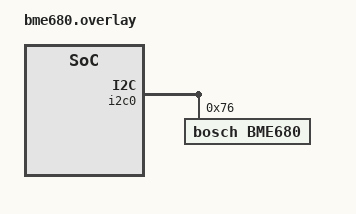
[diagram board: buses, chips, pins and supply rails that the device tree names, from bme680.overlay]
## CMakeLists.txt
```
#
# Copyright (c) 2024, Jamie M.
#
# All right reserved. This code is NOT apache or FOSS/copyleft licensed.

cmake_minimum_required(VERSION 3.20.0)

find_package(Zephyr REQUIRED HINTS $ENV{ZEPHYR_BASE})
project(lora-hacks)

target_sources(app PRIVATE src/sensor.c src/settings.c src/lora.c src/leds.c src/main.c src/peripherals.c src/hfclk.c src/nrf51_amli.c src/error_messages.c)
target_sources_ifdef(CONFIG_SHELL app PRIVATE src/shell.c)
target_sources_ifdef(CONFIG_BT app PRIVATE src/bluetooth.c)
target_sources_ifdef(CONFIG_ADC app PRIVATE src/adc.c)
target_sources_ifdef(CONFIG_APP_IR_LED app PRIVATE src/ir_led.c)
target_sources_ifdef(CONFIG_APP_GARAGE_DOOR app PRIVATE src/garage.c)
target_sources_ifdef(CONFIG_APP_WATCHDOG app PRIVATE src/watchdog.c)
target_sources_ifdef(CONFIG_MCUMGR_TRANSPORT_LORAWAN app PRIVATE src/smp_lorawan.c)

set(ZEPHYR_CURRENT_LIBRARY loramac-node)

#zephyr_library_sources(src/soft-se.c)

zephyr_library_include_directories(
  ${ZEPHYR_LORAMAC_NODE_MODULE_DIR}/src/peripherals/soft-se
  ${ZEPHYR_TINYCRYPT_MODULE_DIR}/lib/include
)

zephyr_library_compile_definitions(
  USE_LRWAN_1_0_X_CRYPTO
)

set_source_files_properties(
#  ${ZEPHYR_LORAMAC_NODE_MODULE_DIR}/src/peripherals/soft-se/aes.c
#  ${ZEPHYR_LORAMAC_NODE_MODULE_DIR}/src/peripherals/soft-se/cmac.c
#  ${ZEPHYR_LORAMAC_NODE_MODULE_DIR}/src/peripherals/soft-se/soft-se.c
  ${ZEPHYR_LORAMAC_NODE_MODULE_DIR}/src/mac/LoRaMacClassB.c
  DIRECTORY ${ZEPHYR_BASE}/subsys/lorawan/
  PROPERTIES HEADER_FILE_ONLY ON
)

if(CONFIG_DT_HAS_SILABS_SI7006_ENABLED)
  zephyr_include_directories(${ZEPHYR_BASE}/drivers/sensor/silabs/si7006)
endif()
```

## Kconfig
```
#
# Copyright (c) 2024, Jamie M.
#
# All right reserved. This code is NOT apache or FOSS/copyleft licensed.
#

menu "Application"

config APP_DEFAULT_SENSOR_READING_TIME
	int "Default time (in seconds) between samples"
	default 150
	range 30 7200
	help
	  Can be changed at run-time via a LoRa command.

config APP_LORA_CONFIRMED_PACKET_ALWAYS
	bool "Always use confirmed packets"
	help
	  If set, will always use confirmed packets for application LoRa messages.

config APP_LORA_CONFIRMED_PACKET_AFTER
	int "Number of unconfirmed packets before confirmed packet"
	default 20
	range 0 100
	depends on !APP_LORA_CONFIRMED_PACKET_ALWAYS
	help
	  Number of unconfirmed uplink packets that are sent before a confirmed packet is sent.
	  Set to 0 to disable

config APP_LORA_RECONNECT_FAILED_PACKETS
	int "Number of packet send failures before re-connection"
	default 5
	range 1 50
	help
	  Number of messages send that fail before reconnecting to the LoRa server.

config APP_LORA_USE_SPECIFIC_DATARATE
	bool "Use specific datarate"
	default y
	help
	  If enabled, will use a specific datarate at startup

choice APP_LORA_DATARATE
	prompt "Datarata"
	depends on APP_LORA_USE_SPECIFIC_DATARATE
	default APP_LORA_DATARATE_5

config APP_LORA_DATARATE_0
	bool "0"
	help
	  Use datarate 0 (SF12, 125KHz, 250bps, 51 byte application payload)

config APP_LORA_DATARATE_1
	bool "1"
	help
	  Use datarate 1 (SF11, 125KHz, 440bps, 51 byte application payload)

config APP_LORA_DATARATE_2
	bool "2"
	help
	  Use datarate 2 (SF10, 125KHz, 960bps, 51 byte application payload)

config APP_LORA_DATARATE_3
	bool "3"
	help
	  Use datarate 3 (SF9, 125KHz, 1760bps, 115 byte application payload)

config APP_LORA_DATARATE_4
	bool "4"
	help
	  Use datarate 4 (SF8, 125KHz, 3125bps, 222 byte application payload)

config APP_LORA_DATARATE_5
	bool "5"
	help
	  Use datarate 5 (SF7, 125KHz, 5470bps, 222 byte application payload)

endchoice # CLOCK_CONTROL_LPC11U6X_PLL_SRC

config APP_LORA_USE_ADR
	bool "Use ADR"
	default y
	help
	  If enabled, will use adaptive data rate

config APP_LORA_ALLOW_DOWNLINKS
	bool "Allow downlinks"
	default y
	help
	  If enabled, will allow application to receive and handle downlinks

config APP_IR_LED
	bool "Infrared LED support"
	depends on "$(dt_alias_enabled,ir-led)"
	default y
	help
	  If enabled, will include support for Infrared LED command output

config APP_EXTERNAL_DCDC
	bool "External DCDC"
	help
	  If enabled, will sample AIN3 for the voltage with 2 BAS16 diodes dropping the voltage
	  instead of the voltage in.

config APP_POWER_DOWN_EXTERNAL_SENSOR
	bool "Power down external sensor when not in use"
	depends on REGULATOR_FIXED
	depends on "$(dt_nodelabel_enabled,ext_power)"
	help
	  If enabled, will power down the external sensor port when it is not in use, but will lose
	  the configuration of the sensor if it is configured by the driver at start-up.

config APP_GARAGE_DOOR
	bool "Garage door"
	help
	  If enabled, will allow control of garage door (or simple IO output).

config APP_WATCHDOG
	bool "Watchdog"
	select WATCHDOG
	help
	  If enabled, will setup and feed watchdog which will reboot device if the device stops
	  responding.

config APP_LEDS
	bool "LEDs"
	default y
	help
	  If enabled, will setup and enable usage of the LEDs.

if BT

choice APP_BT_MODE
	prompt "Bluetooth operating mode"
	default APP_BT_MODE_ADVERTISE_ON_DEMAND

config APP_BT_MODE_ADVERTISE_ON_DEMAND
	bool "Advertise on demand"
	help
	  If enabled, will advertise only when prompted by a button press or remote LoRa message.

config APP_BT_MODE_ALWAYS_ADVERTISE
	bool "Always advertise"
	help
	  If enabled, will always advertise.

endchoice

config APP_BT_ADVERTISE_ON_START
	bool "Advertise on start-up"
	depends on APP_BT_MODE_ADVERTISE_ON_DEMAND
	help
	  If enabled, will advertise at device start-up or reset.

endif

config APP_TYPE
	hex
	default 0x34 if DT_HAS_AOSONG_DHT11_ENABLED && APP_IR_LED && ADC
	default 0x32 if DT_HAS_BOSCH_BME680_ENABLED && APP_IR_LED && ADC
	default 0x31 if DT_HAS_SILABS_SI7006_ENABLED && APP_IR_LED && ADC
	default 0x24 if DT_HAS_AOSONG_DHT11_ENABLED && ADC
	default 0x22 if DT_HAS_BOSCH_BME680_ENABLED && ADC
	default 0x21 if DT_HAS_SILABS_SI7006_ENABLED && ADC
	default 0x14 if DT_HAS_AOSONG_DHT11_ENABLED && APP_IR_LED
	default 0x12 if DT_HAS_BOSCH_BME680_ENABLED && APP_IR_LED
	default 0x11 if DT_HAS_SILABS_SI7006_ENABLED && APP_IR_LED
	default 0x04 if DT_HAS_AOSONG_DHT11_ENABLED
	default 0x02 if DT_HAS_BOSCH_BME680_ENABLED
	default 0x01 if DT_HAS_SILABS_SI7006_ENABLED
	default 0x00
	range 0x00 0xffff
	help
	  bit 0: si7021
	  bit 1: bme680
	  bit 2: dht11
	  bit 3: reserved
	  bit 4: IR LED
	  bit 5: ADC
	  bit 6: reserved
	  bit 7: reserved
	  bit 8: reserved
	  bit 9: reserved
	  bit 10: reserved
	  bit 11: reserved
	  bit 12: reserved
	  bit 13: reserved
	  bit 14: reserved
	  bit 15: reserved

module = APP
module-str = Application
source "subsys/logging/Kconfig.template.log_config"

module = APP_LEDS
module-str = LEDs
source "subsys/logging/Kconfig.template.log_config"

module = APP_LORA
module-str = LoRa
source "subsys/logging/Kconfig.template.log_config"

module = APP_SENSOR
module-str = Sensor
source "subsys/logging/Kconfig.template.log_config"

module = APP_HFCLK
module-str = HFCLK
source "subsys/logging/Kconfig.template.log_config"

module = APP_SETTINGS
module-str = Settings
source "subsys/logging/Kconfig.template.log_config"

if ADC

module = APP_ADC
module-str = Battery voltage measurement
source "subsys/logging/Kconfig.template.log_config"

endif # ADC

if BT

module = APP_BLUETOOTH
module-str = Bluetooth
source "subsys/logging/Kconfig.template.log_config"

endif # BT

if APP_IR_LED

module = APP_IR_LED
module-str = IR LED
source "subsys/logging/Kconfig.template.log_config"

endif # APP_INFRARED_LED

if APP_GARAGE_DOOR

module = APP_GARAGE
module-str = Garage
source "subsys/logging/Kconfig.template.log_config"

endif # APP_GARAGE_DOOR

if APP_WATCHDOG

module = APP_WATCHDOG
module-str = Watchdog
source "subsys/logging/Kconfig.template.log_config"

endif # APP_WATCHDOG

rsource "Kconfig.lorawan"

endmenu

source "Kconfig.zephyr"
```

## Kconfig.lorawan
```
#
# Copyright (c) 2024, Jamie M.
#
# All right reserved. This code is NOT apache or FOSS/copyleft licensed.
#

config MCUMGR_TRANSPORT_NETBUF_COUNT
        default 2 if MCUMGR_TRANSPORT_LORAWAN

config MCUMGR_TRANSPORT_NETBUF_SIZE
        default 222 if MCUMGR_TRANSPORT_LORAWAN

config MCUMGR_TRANSPORT_NETBUF_MIN_USER_DATA_SIZE
        default 0 if MCUMGR_TRANSPORT_LORAWAN && !MCUMGR_TRANSPORT_BT

# The Kconfig file is dedicated to the LoRaWAN transport of MCUmgr
# subsystem and provides Kconfig options to control aspects of
# the transport.
#
# Options defined in this file should be prefixed:
#  MCUMGR_TRANSPORT_LORAWAN_

menuconfig MCUMGR_TRANSPORT_LORAWAN
	bool "LoRaWAN MCUmgr SMP transport"
	help
	  Enables handling of SMP commands received over LoRaWAN.

if MCUMGR_TRANSPORT_LORAWAN

config MCUMGR_TRANSPORT_LORAWAN_PORT
	int "LoRaWAN SMP port"
	range 1 224
	default 2
	help
	  LoRaWAN download and uplink for communication. All messages received on this port will be
	  treated as SMP packets.

config MCUMGR_TRANSPORT_LORAWAN_CONFIRMED_PACKETS
	bool "Use confirmed packets for uplinks"
	default y
	help
	  Will use confirmed uplink packets for responses if enabled, otherwise will use
	  unconfirmed packets.

config MCUMGR_TRANSPORT_LORAWAN_REASSEMBLY
	bool "Reassemble LoRaWAN SMP messages"
	select MCUMGR_TRANSPORT_REASSEMBLY
	default y
	help
	  Will reassemble downlink LoRaWAN messages together to allow for messages larger than a
	  single message to be recieved, otherwise will support messages up to a single packet in
	  size.

config MCUMGR_TRANSPORT_LORAWAN_POLL_FOR_DATA
	bool "Send empty packet if partial packet received"
	depends on MCUMGR_TRANSPORT_LORAWAN_REASSEMBLY
	help
	  Will send an empty packet if a partial (fragmented) message has been recieved from the
	  server, this will allow the next packet to be recieved without waiting for next
	  transmission window.

config MCUMGR_TRANSPORT_LORAWAN_FRAGMENTED_UPLINKS
	bool "Fragment uplink messages"
	default y
	help
	  Will fragment messages into multiple uplink messages if they are too big to fit into a
	  single uplink message. If disabled then uplinks that are too large will not be sent.

module = MCUMGR_TRANSPORT_LORAWAN
module-str = LoRaWAN MCUmgr SMP transport
source "subsys/logging/Kconfig.template.log_config"

endif # MCUMGR_TRANSPORT_LORAWAN
```

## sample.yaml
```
sample:
  name: lora-hacks
common:
  sysbuild: true
  platform_allow:
    - rs1xx
  integration_platforms:
    - rs1xx
tests:
  lora-hacks.si7021:
    tags: default
  lora-hacks.si7021.bluetooth.mcumgr:
      - EXTRA_CONF_FILE="bluetooth.conf;mcumgr.conf"
  lora-hacks.si7021.bluetooth.mcumgr.thread.analyser:
      - EXTRA_CONF_FILE="bluetooth.conf;mcumgr.conf;thread_analyser.conf"
  lora-hacks.si7021.debug:
    extra_args:
      - FILE_SUFFIX="debug"
#  lora-hacks.bme680.external:
#    extra_args:
#      - EXTRA_CONF_FILE="external_sensor_power.conf"
#      - EXTRA_DTC_OVERLAY_FILE="external_sensor_power.overlay;bme680.overlay"
#  lora-hacks.bme680.external.external_dcdc:
#    extra_args:
#      - EXTRA_CONF_FILE="external_sensor_power.conf;external_dcdc.conf"
#      - EXTRA_DTC_OVERLAY_FILE="external_sensor_power.overlay;bme680.overlay"
  lora-hacks.bme680.external.external_dcdc.ir_led:
    extra_args:
      - EXTRA_CONF_FILE="external_sensor_power.conf;external_dcdc.conf"
      - EXTRA_DTC_OVERLAY_FILE="external_sensor_power.overlay;bme680.overlay;ir_led.overlay"
  lora-hacks.bme680.external.external_dcdc.ir_led.debug:
    extra_args:
      - EXTRA_CONF_FILE="external_sensor_power.conf;external_dcdc.conf"
      - EXTRA_DTC_OVERLAY_FILE="external_sensor_power.overlay;bme680.overlay;ir_led.overlay"
      - FILE_SUFFIX="debug"
  lora-hacks.bme680.external.external_dcdc.ir_led.bluetooth.mcumgr:
    extra_args:
      - EXTRA_CONF_FILE="external_sensor_power.conf;external_dcdc.conf;bluetooth.conf;mcumgr.conf"
      - EXTRA_DTC_OVERLAY_FILE="external_sensor_power.overlay;bme680.overlay;ir_led.overlay"
  lora-hacks.bme680.external.external_dcdc.ir_led.bluetooth.mcumgr.thread.analyser:
    extra_args:
      - EXTRA_CONF_FILE="external_sensor_power.conf;external_dcdc.conf;bluetooth.conf;mcumgr.conf;thread_analyser.conf"
      - EXTRA_DTC_OVERLAY_FILE="external_sensor_power.overlay;bme680.overlay;ir_led.overlay"
  lora-hacks.bme680.bluetooth.garage.mcumgr:
    extra_args:
      - EXTRA_CONF_FILE="bluetooth.conf;garage.conf;mcumgr.conf"
      - EXTRA_DTC_OVERLAY_FILE="bme680.overlay;garage.overlay"

  lora-hacks.si7021.bluetooth.fota:
    extra_args:
      - EXTRA_CONF_FILE="bluetooth.conf;mcumgr.conf;fota.conf;picolibc_module_speed.conf"
      - FILE_SUFFIX=fota
  lora-hacks.htu21d.bluetooth.fota:
    extra_args:
      - EXTRA_CONF_FILE="bluetooth.conf;mcumgr.conf;fota.conf;picolibc_module_speed.conf"
      - EXTRA_DTC_OVERLAY_FILE="htu21d.overlay"
      - FILE_SUFFIX=fota
  lora-hacks.si7021.bluetooth.external.fota:
    extra_args:
      - EXTRA_CONF_FILE="bluetooth.conf;external_dcdc.conf;mcumgr.conf;fota.conf;picolibc_module_speed.conf"
      - FILE_SUFFIX=fota
  lora-hacks.si7021.bluetooth.external.ir_led.fota.picolibc-fast:
    extra_args:
      - EXTRA_CONF_FILE="bluetooth.conf;external_dcdc.conf;ir_led.conf;mcumgr.conf;fota.conf;picolibc_module_speed.conf"
      - EXTRA_DTC_OVERLAY_FILE="ir_led.overlay"
      - FILE_SUFFIX=fota
  lora-hacks.bme680.bluetooth.external.ir_led.fota.picolibc-fast:
    extra_args:
      - EXTRA_CONF_FILE="bluetooth.conf;external_dcdc.conf;ir_led.conf;mcumgr.conf;fota.conf;picolibc_module_speed.conf"
      - EXTRA_DTC_OVERLAY_FILE="bme680.overlay;ir_led.overlay"
      - FILE_SUFFIX=fota
  lora-hacks.bme680.bluetooth.garage.fota.picolibc-fast:
    extra_args:
      - EXTRA_CONF_FILE="bluetooth.conf;garage.conf;mcumgr.conf;fota.conf;picolibc_module_speed.conf"
      - EXTRA_DTC_OVERLAY_FILE="bme680.overlay;garage.overlay"
      - FILE_SUFFIX=fota
      - mcuboot_EXTRA_CONF_FILE="\${APPLICATION_CONFIG_DIR}/garage.conf"
      - mcuboot_EXTRA_DTC_OVERLAY_FILE="\${APPLICATION_CONFIG_DIR}/garage.overlay"
```

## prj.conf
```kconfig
CONFIG_SPI=y
CONFIG_GPIO=y

CONFIG_LORA=y
CONFIG_LORAWAN=y
CONFIG_LORAMAC_REGION_EU868=y
CONFIG_LORAWAN_NVM_SETTINGS=y

CONFIG_SETTINGS=y
CONFIG_SETTINGS_NVS=y
CONFIG_SETTINGS_RUNTIME=y

CONFIG_NVS=y
CONFIG_FLASH_MAP=y
CONFIG_FLASH=y

CONFIG_NVS_LOOKUP_CACHE=y
CONFIG_NVS_LOOKUP_CACHE_SIZE=8
CONFIG_SETTINGS_NVS_NAME_CACHE=y
CONFIG_SETTINGS_NVS_NAME_CACHE_SIZE=16
#CONFIG_SETTINGS_NVS_SECTOR_SIZE_MULT=
#CONFIG_SETTINGS_NVS_SECTOR_COUNT=

CONFIG_SENSOR=y
CONFIG_CBPRINTF_FP_SUPPORT=n

CONFIG_FP16=n

CONFIG_ADC=y
CONFIG_ADC_NRFX_ADC=n

CONFIG_REBOOT=y
CONFIG_APP_WATCHDOG=y

# Release
CONFIG_BOOT_BANNER=n
CONFIG_PRINTK=n
CONFIG_EARLY_CONSOLE=n
CONFIG_ASSERT_VERBOSE=n
CONFIG_FAULT_DUMP=0
CONFIG_SPEED_OPTIMIZATIONS=y
CONFIG_SYSTEM_WORKQUEUE_STACK_SIZE=2400
CONFIG_MAIN_STACK_SIZE=1800
CONFIG_ISR_STACK_SIZE=700

CONFIG_INIT_STACKS=y
CONFIG_CONSOLE=n
CONFIG_SERIAL=n
CONFIG_SPEED_OPTIMIZATIONS=y
CONFIG_ISR_TABLES_LOCAL_DECLARATION=y
CONFIG_LTO=y

#CONFIG_TINYCRYPT=y
#CONFIG_TINYCRYPT_AES=y
#CONFIG_TINYCRYPT_AES_CMAC=y
```

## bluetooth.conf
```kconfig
CONFIG_BT=y
CONFIG_BT_SMP=y
CONFIG_BT_PERIPHERAL=y
CONFIG_BT_DEVICE_NAME="Lora-Hacks"
CONFIG_BT_SMP=n
CONFIG_BT_GATT_CACHING=n
CONFIG_BT_DEVICE_NAME_DYNAMIC=y
CONFIG_BT_DEVICE_APPEARANCE=1344
CONFIG_BT_CTLR_TX_PWR_PLUS_4=y
CONFIG_BT_CTLR_LE_ENC=n
CONFIG_BT_CTLR_MIN_USED_CHAN=n
CONFIG_BT_ASSERT_VERBOSE=n
CONFIG_BT_DEVICE_NAME_GATT_WRITABLE=n
CONFIG_BT_BUF_ACL_TX_SIZE=150
CONFIG_BT_BUF_ACL_RX_SIZE=150
CONFIG_BT_L2CAP_TX_MTU=147
CONFIG_BT_PERIPHERAL_PREF_LATENCY=2
CONFIG_MCUMGR_TRANSPORT_NETBUF_COUNT=4
CONFIG_CLOCK_CONTROL_NRF_K32SRC_250PPM=y
CONFIG_BT_CTLR_ASSERT_HANDLER=y
```

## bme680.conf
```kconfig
CONFIG_REGULATOR=y
CONFIG_REGULATOR_THREAD_SAFE_REFCNT=n
```

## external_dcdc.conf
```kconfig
CONFIG_APP_EXTERNAL_DCDC=y
```

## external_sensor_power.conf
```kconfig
CONFIG_REGULATOR=y
CONFIG_REGULATOR_THREAD_SAFE_REFCNT=n
CONFIG_REGULATOR_FIXED_INIT_PRIORITY=41
```

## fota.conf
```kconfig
CONFIG_MCUBOOT_BOOTLOADER_MODE_OVERWRITE_ONLY=y
CONFIG_IMG_MANAGER=y
CONFIG_STREAM_FLASH=y
CONFIG_IMG_ERASE_PROGRESSIVELY=y
CONFIG_MCUMGR_TRANSPORT_BT_AUTHEN=y
CONFIG_MCUMGR_TRANSPORT_BT_CONN_PARAM_CONTROL=y
CONFIG_MCUMGR_TRANSPORT_BT_CONN_PARAM_CONTROL_MIN_INT=8
CONFIG_MCUMGR_TRANSPORT_BT_CONN_PARAM_CONTROL_MAX_INT=11
CONFIG_MCUMGR_TRANSPORT_BT_CONN_PARAM_CONTROL_TIMEOUT=48
CONFIG_MCUMGR_GRP_IMG=y
CONFIG_MCUMGR_GRP_IMG_ALLOW_ERASE_PENDING=y
CONFIG_MCUMGR_GRP_IMG_FRUGAL_LIST=y
CONFIG_MCUMGR_GRP_IMG_TOO_LARGE_SYSBUILD=y
CONFIG_BT_BUF_EVT_DISCARDABLE_SIZE=203
CONFIG_BT_BUF_CMD_TX_SIZE=203
CONFIG_BT_BUF_EVT_RX_SIZE=203
CONFIG_BT_BUF_ACL_TX_SIZE=203
CONFIG_BT_BUF_ACL_RX_SIZE=203
CONFIG_BT_BUF_ACL_RX_COUNT=5
CONFIG_BT_BUF_EVT_RX_COUNT=9
CONFIG_BT_L2CAP_TX_MTU=200
CONFIG_BT_MAX_PAIRED=2
CONFIG_BT_CTLR_FAL_SIZE=2
CONFIG_BT_CTLR_RL_SIZE=2
CONFIG_IMG_BLOCK_BUF_SIZE=128
```

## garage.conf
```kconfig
CONFIG_BT_SMP=y
CONFIG_BT_FIXED_PASSKEY=y
CONFIG_BT_BONDABLE=y
CONFIG_BT_SMP_MIN_ENC_KEY_SIZE=16
CONFIG_BT_MAX_PAIRED=1
CONFIG_BT_ECC=y
CONFIG_BT_TINYCRYPT_ECC=y
CONFIG_BT_CTLR_RX_BUFFERS=2
CONFIG_BT_CTLR_LE_ENC=y
CONFIG_BT_FILTER_ACCEPT_LIST=y
CONFIG_BT_SMP_SC_ONLY=y
CONFIG_BT_CTLR_LE_PING=n
CONFIG_BT_CTLR_FAL_SIZE=2
CONFIG_BT_BONDING_REQUIRED=y
CONFIG_BT_SETTINGS=y
CONFIG_BT_SMP_ENFORCE_MITM=n
CONFIG_BT_SMP_APP_PAIRING_ACCEPT=y
CONFIG_APP_LORA_CONFIRMED_PACKET_ALWAYS=y
CONFIG_APP_BT_MODE_ALWAYS_ADVERTISE=y
CONFIG_APP_GARAGE_DOOR=y
CONFIG_APP_LEDS=n
```

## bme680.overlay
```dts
&i2c0 {
	/delete-node/ si7021@40;

	bme680: bme680@76 {
		compatible = "bosch,bme680";
		reg = <0x76>;
	};
};
```

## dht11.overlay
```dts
/ {
	dht11: dht11 {
		compatible = "aosong,dht";
		status = "okay";
		dio-gpios = <&gpio0 3 (GPIO_PULL_UP | GPIO_ACTIVE_LOW)>;
	};
};

&gpio0 {
	dht_power {
		gpio-hog;
		gpios = <23 GPIO_ACTIVE_HIGH>;
		output-high;
	};
};

&i2c0 {
	status = "disabled";
	/delete-node/ si7021@40;
};
```

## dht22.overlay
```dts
/ {
	dht22: dht22 {
		compatible = "aosong,dht";
		status = "okay";
		dio-gpios = <&gpio0 0 GPIO_ACTIVE_LOW>;
		dht22;
	};

	aliases {
		/delete-property/ led1;
		/delete-property/ led2;
		/delete-property/ led3;
		/delete-property/ sw0;
	};

};

&i2c0 {
	status = "disabled";
	/delete-node/ si7021@40;
};

&timer2 {
	status = "okay";
	prescaler = <4>;
};
```

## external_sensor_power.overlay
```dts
/ {
	ext_power: ext_power {
		compatible = "regulator-fixed";
		enable-gpios = <&gpio0 23 GPIO_ACTIVE_HIGH>;
		regulator-name = "ext_power";
		regulator-boot-on;
	};
};
```

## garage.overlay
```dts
/delete-node/ &button0;
/delete-node/ &led1;
/delete-node/ &led2;
/delete-node/ &led3;

/ {
	leds {
		compatible = "gpio-leds";
		garage: led_0 {
			gpios = <&gpio0 24 GPIO_ACTIVE_HIGH>;
			label = "Transistor input";
		};
	};

	buttons {
		compatible = "gpio-keys";
		button0: button_0 {
			label = "Push button";
			gpios = <&gpio0 22 (GPIO_PULL_DOWN | GPIO_ACTIVE_HIGH)>;
			zephyr,code = <INPUT_KEY_0>;
		};
	};

	aliases {
		/delete-property/ led1;
		/delete-property/ led2;
		/delete-property/ led3;
		garage = &garage;
	};
};

&gpio0 {
	door {
		gpio-hog;
		gpios = <24 GPIO_ACTIVE_HIGH>;
		output-low;
	};
};
```

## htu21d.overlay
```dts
&i2c0 {
	/delete-node/ si7021@40;

	htu21d: htu21d@40 {
		compatible = "sensirion,sht21";
		reg = <0x40>;
		status = "okay";
	};
};


&i2c0_default {
	group1 {
		bias-pull-up;
	};
};
```

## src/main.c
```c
/*
 * Copyright (c) 2024, Jamie M.
 *
 * All right reserved. This code is NOT apache or FOSS/copyleft licensed.
 */

#include <zephyr/kernel.h>
#include <zephyr/logging/log.h>
#include <zephyr/settings/settings.h>
#include <zephyr/sys/reboot.h>
#include <zephyr/storage/flash_map.h>
#include <zephyr/sys_clock.h>
#include "settings.h"
#include "sensor.h"
#include "lora.h"
#include "leds.h"
#include "adc.h"
#include "ir_led.h"
#include "peripherals.h"
#include "bluetooth.h"
#include "garage.h"
#include "hfclk.h"
#include "watchdog.h"
#include "error_messages.h"
#include "app_version.h"

LOG_MODULE_REGISTER(app, CONFIG_APP_LOG_LEVEL);

#define SENSOR_READING_TIME_MIN 30
#define SENSOR_READING_TIME_MAX 7200
#define SEND_ATTEMPTS 3
#define ADC_OFFSET_DEFAULT_MV 500

extern void sys_arch_reboot(int type);

enum lora_uplink_types {
	LORA_UPLINK_TYPE_STARTUP,
	LORA_UPLINK_TYPE_READINGS,
	LORA_UPLINK_TYPE_ERROR_READINGS,
	LORA_UPLINK_TYPE_ERROR_ADC,
	LORA_UPLINK_TYPE_ERROR_NO_HANDLER,
	LORA_UPLINK_TYPE_UPTIME,
	LORA_UPLINK_TYPE_IR_COMPLETE,
	LORA_UPLINK_TYPE_GARAGE_COMPLETE,
};

enum lora_downlink_types {
	LORA_DOWNLINK_TYPE_IR,
	LORA_DOWNLINK_TYPE_UNUSED,
	LORA_DOWNLINK_TYPE_GARAGE,
	LORA_DOWNLINK_TYPE_BLUETOOTH,
	LORA_DOWNLINK_TYPE_DEVICE,
};

enum device_command_op_t {
	DEVICE_COMMAND_OP_REBOOT,
	DEVICE_COMMAND_OP_CLEAR_SETTINGS,
	DEVICE_COMMAND_OP_BLINK_LED,
	DEVICE_COMMAND_OP_GET_UPTIME,
	DEVICE_COMMAND_OP_SET_SENSOR_INTEVAL,
	DEVICE_COMMAND_OP_SENSOR_RUN_HEATER,

	DEVICE_COMMAND_OP_COUNT,
};

enum send_flags_t {
	SEND_FLAG_UPTIME = 0x01,
};

static void sensor_timer_handler(struct k_timer *dummy);

static uint16_t sensor_reading_time = CONFIG_APP_DEFAULT_SENSOR_READING_TIME;
static uint8_t send_flags = 0;
static K_SEM_DEFINE(send_message_sem, 1, 2);
static K_TIMER_DEFINE(sensor_timer, sensor_timer_handler, NULL);

static void sensor_timer_handler(struct k_timer *dummy)
{
	k_sem_give(&send_message_sem);
}

void lora_message_added(void)
{
	k_sem_give(&send_message_sem);
}

int main(void)
{
	int rc;
	uint16_t application_type = CONFIG_APP_TYPE;
	int8_t temperature[2];
	int8_t humidity[2];
	uint8_t lora_data[8];
	uint8_t data_size;
	uint8_t failed_messages = 0;
	bool lora_joined = false;
	bool lora_sent_join_message = false;
	bool error = false;

#ifdef CONFIG_ADC
	uint16_t voltage;
#endif

	LOG_INF("Application version %s, built " __DATE__, APP_VERSION_EXTENDED_STRING);

	peripheral_setup();
	(void)leds_init();
	lora_keys_load();
	app_keys_load();

#ifdef CONFIG_APP_GARAGE_DOOR
	garage_init();
#endif

#ifdef CONFIG_BT
	rc = bluetooth_init();

	if (rc != 0) {
		error = true;
		LOG_ERR("Bluetooth setup failed");
	}
#endif

	rc = sensor_setup();

#ifdef CONFIG_ADC
	adc_setup();
#endif

	if (rc != 0) {
		error = true;
		LOG_ERR("Sensor setup failed: device inoperable");
	}

#ifdef CONFIG_APP_IR_LED
	rc = ir_led_setup();

	if (rc != 0) {
		error = true;
		LOG_ERR("IR LED setup failed: device inoperable");
	}
#endif

	/* LED flashing to indicate start up */
	if (error == false) {
#if defined(CONFIG_APP_LEDS)
		led_on(LED_RED);
		k_sleep(K_MSEC(300));
		led_off(LED_RED);
		led_on(LED_GREEN);
		k_sleep(K_MSEC(300));
		led_off(LED_GREEN);
		led_on(LED_BLUE);
		k_sleep(K_MSEC(300));
		led_off(LED_BLUE);
#else
		k_sleep(K_MSEC(300));
#endif
	} else {
		watchdog_fatal();
#if defined(CONFIG_APP_LEDS)
		led_on(LED_RED);
		led_on(LED_GREEN);
		k_sleep(K_MSEC(300));
		led_off(LED_RED);
		led_off(LED_GREEN);
		led_on(LED_GREEN);
		led_on(LED_BLUE);
		k_sleep(K_MSEC(300));
		led_off(LED_GREEN);
		led_off(LED_BLUE);
		led_on(LED_BLUE);
		led_on(LED_RED);
		k_sleep(K_MSEC(300));
		led_off(LED_BLUE);
		led_off(LED_RED);
#else
		k_sleep(K_MSEC(300));
#endif
	}

	while (1) {
		uint8_t i = 0;
		uint8_t l;

		k_sem_take(&send_message_sem, K_FOREVER);
		(void)hfclk_enable();

		if (lora_joined == false) {
			rc = lora_setup();

			if (rc == 0) {
				lora_joined = true;
			} else {
				goto wait;
			}
		}

		if (lora_sent_join_message == false) {
			/* Send connect message with version and application type */
			data_size = 0;
			lora_data[data_size++] = LORA_UPLINK_TYPE_STARTUP;
			lora_data[data_size++] = APP_VERSION_MAJOR;
			lora_data[data_size++] = APP_VERSION_MINOR;
			lora_data[data_size++] = APP_PATCHLEVEL;
			lora_data[data_size++] = APP_TWEAK;
			lora_data[data_size++] = ((uint8_t *)&application_type)[0];
			lora_data[data_size++] = ((uint8_t *)&application_type)[1];

			rc = lora_send_message(lora_data, data_size, true, SEND_ATTEMPTS);

			if (rc == 0) {
				LOG_INF("Connect message sent");
				lora_sent_join_message = true;
			} else {
				LOG_ERR("Connect message failed to send: %d", rc);
				++failed_messages;
				goto wait;
			}
		}

		if (send_flags & SEND_FLAG_UPTIME) {
			/* Send device uptime */
			uint32_t uptime = (uint32_t)(k_uptime_get() / MSEC_PER_SEC);

			lora_data[0] = LORA_UPLINK_TYPE_UPTIME;
			memcpy(&lora_data[1], &uptime, sizeof(uptime));

			rc = lora_send_message(lora_data, 5, false, SEND_ATTEMPTS);

			if (rc == 0) {
				LOG_INF("Message sent");
				send_flags &= ~SEND_FLAG_UPTIME;
			} else {
				LOG_ERR("Message failed to send: %d", rc);
				++failed_messages;
			}
		}

		/* Check for any error mesages to report */
		l = error_message_get_count();

		if (l > 0) {
			const struct error_message_holder_t *errors = error_message_get_array();

			error_message_lock();

			while (i < l) {
				rc = lora_send_message((errors[i].data_size == 0 ? NULL :
							errors[i].data), errors[i].data_size,
						       false, SEND_ATTEMPTS);

				if (rc == 0) {
#ifdef CONFIG_APP_WATCHDOG
					watchdog_feed();
#endif
					LOG_INF("Message sent");
				} else {
					LOG_ERR("Message failed to send: %d", rc);
					++failed_messages;
				}

				++i;
			}

			error_message_clear();
			error_message_unlock();
			(void)hfclk_disable();

			/* Ensure that there is a pending timer event or semaphore count so this
			 * runs again
			 */
			if (k_timer_remaining_get(&sensor_timer) == 0 &&
			    k_sem_count_get(&send_message_sem) == 0) {
				/* Something has been missed, restart the timer */
				goto restart_timer;
			} else {
				continue;
			}
		} else {
			data_size = 0;

			rc = sensor_fetch_readings(temperature, humidity);

			if (rc != 0) {
				lora_data[data_size++] = LORA_UPLINK_TYPE_ERROR_READINGS;
			}

#ifdef CONFIG_ADC
			if (rc == 0) {
				rc = adc_read_internal(&voltage);

				if (rc != 0) {
					lora_data[data_size++] = LORA_UPLINK_TYPE_ERROR_ADC;
				} else {
#ifdef CONFIG_APP_EXTERNAL_DCDC
					int16_t adc_offset;

					rc = settings_runtime_get("app/power_offset", (uint8_t *)&adc_offset, sizeof(adc_offset));

					if (rc != sizeof(adc_offset) || adc_offset == 0) {
						/* No offset, use default */
						adc_offset = ADC_OFFSET_DEFAULT_MV;
					}

					voltage += adc_offset;

					rc = 0;
#endif
				}
			}
#endif

			if (rc == 0) {
				lora_data[data_size++] = LORA_UPLINK_TYPE_READINGS;
				lora_data[data_size++] = temperature[0];
				lora_data[data_size++] = temperature[1];
				lora_data[data_size++] = humidity[0];
				lora_data[data_size++] = humidity[1];

#ifdef CONFIG_ADC
				lora_data[data_size++] = (voltage & 0xff00) >> 8;
				lora_data[data_size++] = voltage & 0xff;
#else
				lora_data[data_size++] = 0xff;
				lora_data[data_size++] = 0xff;
#endif
			} else {
				LOG_ERR("Failed to fetch sensor readings or ADC value");

				/* Uplink type is already set, append error code */
				lora_data[data_size++] = rc & 0xff;
			}

			rc = lora_send_message(lora_data, data_size, false, SEND_ATTEMPTS);

			if (rc == 0) {
#ifdef CONFIG_APP_WATCHDOG
				watchdog_feed();
#endif
				LOG_INF("Message sent");
			} else {
				LOG_ERR("Message failed to send: %d", rc);
				++failed_messages;
			}
wait:
			(void)hfclk_disable();

			if (failed_messages > CONFIG_APP_LORA_RECONNECT_FAILED_PACKETS) {
				/* No successful messages after a period of time, consider connection dead
				 * and reconnect
				 */
				failed_messages = 0;
				lora_joined = false;
				lora_sent_join_message = false;
				watchdog_fatal();
				sys_arch_reboot(SYS_REBOOT_COLD);
			}

restart_timer:
			k_timer_start(&sensor_timer, K_SECONDS(sensor_reading_time), K_NO_WAIT);
		}
	}
}

#ifdef CONFIG_APP_LORA_ALLOW_DOWNLINKS
static int device_command(const enum device_command_op_t op, const uint8_t *data, const uint8_t data_size)
{
	switch (op) {
		case DEVICE_COMMAND_OP_REBOOT:
		{
			sys_reboot(SYS_REBOOT_COLD);
			break;
		}
		case DEVICE_COMMAND_OP_CLEAR_SETTINGS:
		{
			const struct flash_area *fap;
			int rc = flash_area_open(FIXED_PARTITION_ID(storage_partition), &fap);

			if (rc < 0) {
				return -ENOENT;
			} else {
				rc = flash_area_flatten(fap, 0, fap->fa_size);

				if (rc < 0) {
					return -EIO;
				}

				flash_area_close(fap);
			}

			break;
		}
#if defined(CONFIG_APP_LEDS)
		case DEVICE_COMMAND_OP_BLINK_LED:
		{
			led_on(LED_RED);
			led_on(LED_GREEN);
			led_on(LED_BLUE);
			k_sleep(K_SECONDS(3));
			led_off(LED_RED);
			led_off(LED_GREEN);
			led_off(LED_BLUE);
			break;
		}
#endif
		case DEVICE_COMMAND_OP_GET_UPTIME:
		{
			send_flags |= SEND_FLAG_UPTIME;
			k_sem_give(&send_message_sem);
			break;
		}
		case DEVICE_COMMAND_OP_SET_SENSOR_INTEVAL:
		{
			const uint16_t *reading_time = (uint16_t *)data;

			if (data_size != sizeof(uint16_t)) {
				return -EINVAL;
			} else if (*reading_time < SENSOR_READING_TIME_MIN || *reading_time > SENSOR_READING_TIME_MAX) {
				return -EINVAL;
			}

			sensor_reading_time = *reading_time;
			break;
		}
#if CONFIG_DT_HAS_SILABS_SI7006_ENABLED
		case DEVICE_COMMAND_OP_SENSOR_RUN_HEATER:
		{
			sensor_run_heater();
		}
#endif
		default:
		{
			return -EINVAL;
		}
	};

	return 0;
}

void lora_message_callback(uint8_t port, const uint8_t *data, uint8_t len)
{
	uint8_t response[2];
	uint8_t response_size = 0;

	if (port == 1) {
		if (len == 0) {
			LOG_DBG("Received 0 byte download on port 1");
			return;
		}

		switch (data[0]) {
#ifdef CONFIG_APP_IR_LED
			case LORA_DOWNLINK_TYPE_IR:
			{
				(void)ir_led_send(data[1]);

				/* Send response indicating request has been actioned */
				response[response_size++] = LORA_UPLINK_TYPE_IR_COMPLETE;
				error_message_lock();
				error_message_add_error(response, response_size);
				error_message_unlock();
				break;
			}
#endif

#ifdef CONFIG_APP_GARAGE_DOOR
			case LORA_DOWNLINK_TYPE_GARAGE:
			{
				garage_door_open_close();

				/* Send response indicating request has been actioned */
				response[response_size++] = LORA_UPLINK_TYPE_GARAGE_COMPLETE;
				error_message_lock();
				error_message_add_error(response, response_size);
				error_message_unlock();
				break;
			}
#endif

#ifdef CONFIG_BT
			case LORA_DOWNLINK_TYPE_BLUETOOTH:
			{
				bluetooth_remote(data[1]);
				break;
			}
#endif

			case LORA_DOWNLINK_TYPE_DEVICE:
			{
				device_command(data[1], &data[2], (len - 2));
				break;
			}

			default:
			{
				LOG_ERR("No handler for LoRa Downlink type %d", data[0]);

				response[response_size++] = LORA_UPLINK_TYPE_ERROR_NO_HANDLER;
				response[response_size++] = data[0];

				error_message_lock();
				error_message_add_error(response, response_size);
				error_message_unlock();
			}
		};
	}
}
#endif

void k_sys_fatal_error_handler(unsigned int reason, const struct arch_esf *esf)
{
	/* In system fault handler, reboot calling arch function directly */
	watchdog_fatal();
	sys_arch_reboot(SYS_REBOOT_COLD);
}

void bt_ctlr_assert_handle(char *, int)
{
	/* In Bluetooth fault handler, reboot calling arch function directly */
	watchdog_fatal();
	sys_arch_reboot(SYS_REBOOT_COLD);
}
```

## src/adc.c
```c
/*
 * Copyright (c) 2024, Jamie M.
 *
 * All right reserved. This code is NOT apache or FOSS/copyleft licensed.
 */

#include <zephyr/drivers/gpio.h>
#include <zephyr/drivers/adc.h>
#include <zephyr/logging/log.h>
#include "adc.h"

LOG_MODULE_REGISTER(adc, CONFIG_APP_ADC_LOG_LEVEL);

const struct device *adc = DEVICE_DT_GET(DT_NODELABEL(adc));

int adc_setup()
{
	struct adc_channel_cfg adc_channel_config = {
		.gain = ADC_GAIN_1_3,
		.reference = ADC_REF_INTERNAL,
		.acquisition_time = ADC_ACQ_TIME_DEFAULT,
		.channel_id = 0,
#ifdef CONFIG_APP_EXTERNAL_DCDC
		.input_positive = BIT(3),
#else
		.input_positive = 0,
#endif
	};
	int rc;

#ifdef CONFIG_APP_EXTERNAL_DCDC
	const struct device *gpio_dev = DEVICE_DT_GET(DT_NODELABEL(gpio0));

	(void)gpio_pin_configure(gpio_dev, 3, GPIO_INPUT);
#endif

	if (!device_is_ready(adc)) {
		LOG_ERR("ADC device not ready");
		return -ENOENT;
	}

	rc = adc_channel_setup(adc, &adc_channel_config);

	if (rc != 0) {
		LOG_ERR("ADC channel setup failed: %d", rc);
	}

	return rc;
}

int adc_read_internal(uint16_t *voltage)
{
	int rc;
	int16_t adc_value = 0;
	uint32_t conversion;
	struct adc_sequence adc_sequence = {
		.channels = BIT(0),
		.buffer = &adc_value,
		.buffer_size = sizeof(adc_value),
		.oversampling = 0,
		.calibrate = true,
		.resolution = 10,
	};

	rc = adc_read(adc, &adc_sequence);

	if (rc != 0) {
		LOG_ERR("ADC reading failed: %d", rc);
		return rc;
	}

	conversion = ((adc_value * 1000) / 1024 * 1200 * 3) / 1000;

	*voltage = conversion;

	LOG_INF("Power: %dmV", conversion);

	return rc;
}
```

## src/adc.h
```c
/*
 * Copyright (c) 2024, Jamie M.
 *
 * All right reserved. This code is NOT apache or FOSS/copyleft licensed.
 */

#ifndef APP_ADC_H
#define APP_ADC_H

#include <zephyr/kernel.h>

/* Initialise ADC */
int adc_setup();

/* Read internal voltage, in mV */
int adc_read_internal(uint16_t *voltage);

#endif /* APP_ADC_H */
```

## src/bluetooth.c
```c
/*
 * Copyright (c) 2024, Jamie M.
 *
 * All right reserved. This code is NOT apache or FOSS/copyleft licensed.
 */

#include <zephyr/device.h>
#include <zephyr/drivers/gpio.h>
#include <zephyr/bluetooth/bluetooth.h>
#include <zephyr/bluetooth/conn.h>
#include <zephyr/bluetooth/gatt.h>
#include <zephyr/settings/settings.h>
#include <zephyr/logging/log.h>
#include "bluetooth.h"
#include "settings.h"
#include "leds.h"
#include "watchdog.h"

LOG_MODULE_REGISTER(bluetooth, CONFIG_APP_BLUETOOTH_LOG_LEVEL);

#define BUTTON_ALIAS DT_ALIAS(sw0)

#ifdef CONFIG_APP_BT_MODE_ADVERTISE_ON_DEMAND
#if DT_NODE_HAS_STATUS(BUTTON_ALIAS, okay)
#define BUTTON_DEVICE GPIO_DT_SPEC_GET(BUTTON_ALIAS, gpios)

static struct k_work button_work;
static struct gpio_callback button_cb_data;
static const struct gpio_dt_spec button = BUTTON_DEVICE;
#endif

static void stop_advertising_function(struct k_timer *timer_id);
static bool continue_advert = false;
static struct k_work stop_advertising_work;

K_TIMER_DEFINE(stop_advertising_timer, stop_advertising_function, NULL);
#endif

static bool in_connection = false;
static struct k_work advertise_work;

static const struct bt_data ad[] = {
	BT_DATA_BYTES(BT_DATA_FLAGS, (BT_LE_AD_GENERAL | BT_LE_AD_NO_BREDR)),
	BT_DATA_BYTES(BT_DATA_UUID128_ALL,
		      0x84, 0xaa, 0x60, 0x74, 0x52, 0x8a, 0x8b, 0x86,
		      0xd3, 0x4c, 0xb7, 0x1d, 0x1d, 0xdc, 0x53, 0x8d),
};

static uint8_t device_name[BLUETOOTH_DEVICE_NAME_SIZE] = CONFIG_BT_DEVICE_NAME;

static struct bt_data sd[] = {
	BT_DATA(BT_DATA_NAME_COMPLETE, device_name, sizeof(CONFIG_BT_DEVICE_NAME) - 1),
};

static struct bt_conn *active_conn;

#if defined(CONFIG_BT_SMP)
/* Advertising interval minimum/maximum in 0.625us units, 1.375-2.125 seconds */
#define BT_ADV_INTERVAL_MIN 2200
#define BT_ADV_INTERVAL_MAX 3400

static uint8_t bonds;
static uint8_t gatt_value;

static void bond_loop(const struct bt_bond_info *info, void *user_data);
static void bond_check_loop(const struct bt_bond_info *info, void *user_data);

struct bond_check_data_t {
	const bt_addr_le_t *addr;
	bool found;
};

/* Used to prevent connection encrypted callback running multiple times */
static bool connection_security_updated = false;
#else
/* Advertising interval minimum/maximum in 0.625us units, 0.2-0.4 seconds */
#define BT_ADV_INTERVAL_MIN 320
#define BT_ADV_INTERVAL_MAX 640
#endif

#ifdef CONFIG_APP_BT_MODE_ADVERTISE_ON_DEMAND
static void stop_advertising(struct k_work *work)
{
	led_off(LED_BLUE);
	bt_le_adv_stop();
}

static void stop_advertising_function(struct k_timer *timer_id)
{
	continue_advert = false;

	if (in_connection == false) {
		k_work_submit(&stop_advertising_work);
	}
}
#endif

static void do_advert(void)
{
#ifdef CONFIG_APP_BT_MODE_ADVERTISE_ON_DEMAND
	if (continue_advert == true) {
		k_work_submit(&advertise_work);
	} else {
		led_off(LED_BLUE);
	}
#else
	k_work_submit(&advertise_work);
#endif
}

static void advertise(struct k_work *work)
{
	int rc;
	uint8_t device_name[BLUETOOTH_DEVICE_NAME_SIZE] = { 0 };

	/* Get device name to advertise with */
	rc = settings_runtime_get("app/bluetooth_name", device_name, sizeof(device_name));

	if (rc <= 0 || device_name[0] == 0x00) {
		strcpy(device_name, CONFIG_BT_DEVICE_NAME);
		LOG_INF("Device name not set, using default");
	} else {
		rc = bt_set_name((char *)device_name);

		if (rc) {
			LOG_ERR("Device name set failed: %d", rc);
		}

		sd->data = device_name;
		sd->data_len = strlen(device_name);
	}

#if defined(CONFIG_BT_SMP)
	bonds = 0;
	bt_le_filter_accept_list_clear();
	bt_foreach_bond(BT_ID_DEFAULT, bond_loop, NULL);

	if (bonds == CONFIG_BT_MAX_PAIRED) {
		rc = bt_le_adv_start(BT_LE_ADV_PARAM((BT_LE_ADV_OPT_CONNECTABLE |
						      BT_LE_ADV_OPT_ONE_TIME |
						      BT_LE_ADV_OPT_FILTER_CONN |
						      BT_LE_ADV_OPT_FILTER_SCAN_REQ),
				     BT_ADV_INTERVAL_MIN, BT_ADV_INTERVAL_MAX, NULL),
				     ad, ARRAY_SIZE(ad), sd, ARRAY_SIZE(sd));
	} else {
		rc = bt_le_adv_start(BT_LE_ADV_PARAM((BT_LE_ADV_OPT_CONNECTABLE |
						      BT_LE_ADV_OPT_ONE_TIME),
				     BT_ADV_INTERVAL_MIN, BT_ADV_INTERVAL_MAX, NULL), ad,
				     ARRAY_SIZE(ad), sd, ARRAY_SIZE(sd));
	}
#else
	rc = bt_le_adv_start(BT_LE_ADV_PARAM(BT_LE_ADV_OPT_CONNECTABLE | BT_LE_ADV_OPT_ONE_TIME,
					     BT_ADV_INTERVAL_MIN, BT_ADV_INTERVAL_MAX, NULL), ad,
			     ARRAY_SIZE(ad), sd, ARRAY_SIZE(sd));
#endif

	if (rc) {
		LOG_ERR("Advert start failed: %d", rc);

#ifdef CONFIG_APP_WATCHDOG
		watchdog_fatal();
#endif
	}
}

#ifdef CONFIG_APP_BT_MODE_ADVERTISE_ON_DEMAND
static void advertise2(struct k_work *work)
{
	k_timer_start(&stop_advertising_timer, K_SECONDS(20), K_NO_WAIT);

	if (continue_advert == false) {
		led_on(LED_BLUE);

		continue_advert = true;

		if (in_connection == false) {
			advertise(NULL);
		}
	}
}
#endif

static void connected(struct bt_conn *conn, uint8_t err)
{
	if (err) {
		LOG_ERR("Connection failed (err 0x%02x)", err);
		do_advert();
	} else {
		active_conn = conn;
		in_connection = true;
		LOG_INF("Connected");

#if defined(CONFIG_BT_SMP)
		if (bonds == CONFIG_BT_MAX_PAIRED) {
			/* Check if this is a bonded device or not, if not, disconnect */
			struct bond_check_data_t bond_check_data = {
				.addr = bt_conn_get_dst(conn),
				.found = false,
			};

			bt_foreach_bond(BT_ID_DEFAULT, bond_check_loop, &bond_check_data);

			if (bond_check_data.found == false)
			{
				bt_conn_disconnect(conn, BT_HCI_ERR_AUTH_FAIL);
				return;
			}
		}

		if (bt_conn_set_security(conn, BT_SECURITY_L4)) {
			LOG_ERR("Failed to set security level");
			bt_conn_disconnect(conn, BT_HCI_ERR_AUTH_FAIL);
		}
#endif
	}
}

static void disconnected(struct bt_conn *conn, uint8_t reason)
{
	in_connection = false;
#if defined(CONFIG_BT_SMP)
	connection_security_updated = false;
#endif
	active_conn = NULL;
	do_advert();
}

#ifdef CONFIG_APP_BT_MODE_ADVERTISE_ON_DEMAND
static void on_conn_recycled(void)
{
	do_advert();
}
#endif

#if defined(CONFIG_BT_SMP)
static void security_changed(struct bt_conn *conn, bt_security_t level, enum bt_security_err err)
{
	char addr[BT_ADDR_LE_STR_LEN];

	bt_addr_le_to_str(bt_conn_get_dst(conn), addr, sizeof(addr));

	if (!err) {
		LOG_DBG("Security changed to %d: for %s", level, addr);

		if (level == BT_SECURITY_L4 && connection_security_updated == false) {
			bluetooth_security_changed();
			connection_security_updated = true;
		}
	} else {
		LOG_ERR("Security failed: %s level %u err %d", addr, level, err);
	}
}
#endif

BT_CONN_CB_DEFINE(conn_callbacks) = {
	.connected = connected,
	.disconnected = disconnected,
#ifdef CONFIG_APP_BT_MODE_ADVERTISE_ON_DEMAND
	.recycled = on_conn_recycled,
#endif
#if defined(CONFIG_BT_SMP)
	.security_changed = security_changed,
#endif
};

/* TODO: Move to separate file */
#ifdef CONFIG_APP_BT_MODE_ADVERTISE_ON_DEMAND
#if DT_NODE_HAS_STATUS(BUTTON_ALIAS, okay)
static void button_pressed(const struct device *dev, struct gpio_callback *cb, uint32_t pins)
{
	k_work_submit(&button_work);
}
#endif
#endif

int bluetooth_remote(enum bluetooth_remote_op_t op)
{
	switch (op) {
#ifdef CONFIG_APP_BT_MODE_ADVERTISE_ON_DEMAND
		case BLUETOOTH_REMOTE_OP_ADVERT_START:
		{
#if DT_NODE_HAS_STATUS(BUTTON_ALIAS, okay)
			k_work_submit(&button_work);
#else
			advertise2(NULL);
#endif
			break;
		}
		case BLUETOOTH_REMOTE_OP_ADVERT_STOP:
		{
			stop_advertising_function(NULL);
			break;
		}
#endif
		case BLUETOOTH_REMOTE_OP_ADVERT_DISCONNECT:
		{
			if (in_connection) {
				bt_conn_disconnect(active_conn, BT_HCI_ERR_REMOTE_USER_TERM_CONN);
			} else {
				return -ENOTCONN;
			}
		}
#if defined(CONFIG_BT_SMP)
		case BLUETOOTH_REMOTE_OP_ADVERT_CLEAR_BONDS:
		{
			bluetooth_clear_bonds();
			break;
		}
#endif
		default:
		{
			return -EINVAL;
		}
	};

	return 0;
}

#if defined(CONFIG_BT_SMP)
static void auth_passkey_display(struct bt_conn *conn, unsigned int passkey)
{
	char addr[BT_ADDR_LE_STR_LEN];

	bt_addr_le_to_str(bt_conn_get_dst(conn), addr, sizeof(addr));

	LOG_INF("Passkey for %s: %06u", addr, passkey);
}

static void auth_cancel(struct bt_conn *conn)
{
	char addr[BT_ADDR_LE_STR_LEN];

	bt_addr_le_to_str(bt_conn_get_dst(conn), addr, sizeof(addr));

	LOG_INF("Pairing cancelled: %s", addr);
}

static enum bt_security_err auth_pairing_accept(struct bt_conn *conn, const struct bt_conn_pairing_feat *const feat)
{
	if (bonds == CONFIG_BT_MAX_PAIRED) {
		return BT_SECURITY_ERR_PAIR_NOT_ALLOWED;
	}

	return BT_SECURITY_ERR_SUCCESS;
}

static void auth_pairing_confirm(struct bt_conn *conn)
{
	if (bonds > CONFIG_BT_MAX_PAIRED) {
		bt_conn_auth_cancel(conn);
	}

	bt_conn_auth_pairing_confirm(conn);
}

static void pairing_complete(struct bt_conn *conn, bool bonded)
{
	LOG_INF("Pairing Complete");
}

static void pairing_failed(struct bt_conn *conn, enum bt_security_err reason)
{
	LOG_ERR("Pairing Failed (%d). Disconnecting", reason);
	bt_conn_disconnect(conn, BT_HCI_ERR_AUTH_FAIL);
}

static void bond_deleted(uint8_t id, const bt_addr_le_t *peer)
{
	LOG_INF("bond Deleted");
}

static struct bt_conn_auth_cb auth_cb_display = {
	.passkey_display = auth_passkey_display,
	.cancel = auth_cancel,
	.pairing_accept = auth_pairing_accept,
	.pairing_confirm = auth_pairing_confirm,
};

static struct bt_conn_auth_info_cb auth_cb_info = {
	.pairing_complete = pairing_complete,
	.pairing_failed = pairing_failed,
	.bond_deleted = bond_deleted,
};
#endif

int bluetooth_init(void)
{
	int rc;
#if defined(CONFIG_BT_FIXED_PASSKEY)
	uint32_t fixed_passkey = 0;
#endif

	k_work_init(&advertise_work, advertise);
#ifdef CONFIG_APP_BT_MODE_ADVERTISE_ON_DEMAND
	k_work_init(&stop_advertising_work, stop_advertising);
#if DT_NODE_HAS_STATUS(BUTTON_ALIAS, okay)
	k_work_init(&button_work, advertise2);
#endif
#endif

	rc = bt_enable(NULL);

	if (rc != 0) {
		LOG_ERR("Bluetooth enable failed: %d", rc);
		return rc;
	}

	if (IS_ENABLED(CONFIG_SETTINGS)) {
		settings_load();
	}

#ifdef CONFIG_APP_BT_MODE_ADVERTISE_ON_DEMAND
#if DT_NODE_HAS_STATUS(BUTTON_ALIAS, okay)
	if (!gpio_is_ready_dt(&button)) {
		LOG_ERR("Button GPIO device not ready: %s", button.port->name);
		return rc;
	}

	rc = gpio_pin_configure_dt(&button, GPIO_INPUT);

	if (rc != 0) {
		LOG_ERR("Button pin configure failed: %d:", rc);
		return rc;
	}

	rc = gpio_pin_interrupt_configure_dt(&button, GPIO_INT_EDGE_TO_ACTIVE);

	if (rc != 0) {
		LOG_ERR("Button interrupt configure failed: %d", rc);
		return rc;
	}

	gpio_init_callback(&button_cb_data, button_pressed, BIT(button.pin));
	gpio_add_callback(button.port, &button_cb_data);
#endif
#endif

#if defined(CONFIG_BT_SMP)
	bt_conn_auth_cb_register(&auth_cb_display);
	bt_conn_auth_info_cb_register(&auth_cb_info);
#if defined(CONFIG_BT_FIXED_PASSKEY)

	rc = settings_runtime_get("app/bluetooth_fixed_passkey", (uint8_t *)&fixed_passkey, sizeof(fixed_passkey));
	if (rc == sizeof(fixed_passkey)) {
		bt_passkey_set(fixed_passkey);
		LOG_DBG("Fixed passkey set to %06u - THIS IS VERY INSECURE", fixed_passkey);
	}

	rc = 0;
#endif
#endif

#ifdef CONFIG_APP_BT_ADVERTISE_ON_START
#if DT_NODE_HAS_STATUS(BUTTON_ALIAS, okay)
	k_work_submit(&button_work);
#else
	advertise2(NULL);
#endif
#endif

#ifdef CONFIG_APP_BT_MODE_ALWAYS_ADVERTISE
	advertise(NULL);
#endif

	return rc;
}

#if defined(CONFIG_BT_SMP)
void bluetooth_clear_bonds(void)
{
	int rc;

	/* Stop advertising first, clear bonds */
	if (in_connection) {
		bt_conn_disconnect(active_conn, BT_HCI_ERR_REMOTE_USER_TERM_CONN);
	} else {
		bt_le_adv_stop();
	}

	rc = bt_unpair(BT_ID_DEFAULT, NULL);
	LOG_DBG("Unpair: %d", rc);

	/* And restart advertising */
	advertise(NULL);
}

static void bond_loop(const struct bt_bond_info *info, void *user_data)
{
	char addr_str[BT_ADDR_LE_STR_LEN];

	bt_le_filter_accept_list_add(&info->addr);
	bt_addr_le_to_str(&info->addr, addr_str, sizeof(addr_str));
	LOG_DBG("Added %s to advertising accept filter list", addr_str);
	bonds++;
}

static void bond_check_loop(const struct bt_bond_info *info, void *user_data)
{
	struct bond_check_data_t *bond_check_data = (struct bond_check_data_t *)user_data;

	if (memcmp(bond_check_data->addr, &info->addr, sizeof(bt_addr_le_t)) == 0) {
		bond_check_data->found = true;
	}
}

static ssize_t read_u8(struct bt_conn *conn, const struct bt_gatt_attr *attr, void *buf,
		       uint16_t len, uint16_t offset)
{
	const uint8_t *value = attr->user_data;

	if (bt_conn_get_security(conn) != BT_SECURITY_L4) {
		return BT_GATT_ERR(BT_ATT_ERR_AUTHENTICATION);
	}

	bluetooth_garage_characteristic_written();

	return bt_gatt_attr_read(conn, attr, buf, len, offset, &value, sizeof(value));
}

BT_GATT_SERVICE_DEFINE(ess_svc,
	BT_GATT_PRIMARY_SERVICE(BT_UUID_ESS),

	/* Garage door */
/* TODO: change this */
	BT_GATT_CHARACTERISTIC(BT_UUID_TEMPERATURE, BT_GATT_CHRC_READ,
			       (BT_GATT_PERM_READ_ENCRYPT | BT_GATT_PERM_READ_AUTHEN |
				BT_GATT_PERM_READ_LESC), read_u8,
			       NULL, &gatt_value),
);
#endif
```

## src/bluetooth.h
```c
/*
 * Copyright (c) 2024, Jamie M.
 *
 * All right reserved. This code is NOT apache or FOSS/copyleft licensed.
 */

#ifndef APP_BLUETOOTH_H
#define APP_BLUETOOTH_H

#include <zephyr/kernel.h>

enum bluetooth_remote_op_t {
	BLUETOOTH_REMOTE_OP_ADVERT_START,
	BLUETOOTH_REMOTE_OP_ADVERT_STOP,
	BLUETOOTH_REMOTE_OP_ADVERT_DISCONNECT,
	BLUETOOTH_REMOTE_OP_ADVERT_CLEAR_BONDS,

	BLUETOOTH_REMOTE_OP_COUNT,
};

/* Initialise Bluetooth */
int bluetooth_init(void);

/* Clear all bonds */
void bluetooh_clear_bonds(void);

/* Security changed to level 4 callback */
void bluetooth_security_changed(void);

/* Garage characteristic written callback */
void bluetooth_garage_characteristic_written(void);

/* Clears all Bluetooth bonds */
void bluetooth_clear_bonds(void);

/* Remote LoRa function for bluetooth */
int bluetooth_remote(enum bluetooth_remote_op_t op);

/* Starts advertising */
void bluetooth_advertising_start(void);

/* Stops advertising and closes open connections */
void bluetooth_advertising_stop(void);

#endif /* APP_BLUETOTH_H */
```

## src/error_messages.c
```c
/*
 * Copyright (c) 2024, Jamie M.
 *
 * All right reserved. This code is NOT apache or FOSS/copyleft licensed.
 */

#include <zephyr/kernel.h>
#include "error_messages.h"

extern void lora_message_added(void);

static struct error_message_holder_t error_messages[ERROR_MESSAGE_COUNT];
static volatile uint8_t error_message_count = 0;
static K_SEM_DEFINE(lock_sem, 1, 1);

void error_message_lock(void)
{
	k_sem_take(&lock_sem, K_FOREVER);
}

void error_message_unlock(void)
{
	k_sem_give(&lock_sem);
}

uint8_t error_message_get_count(void)
{
	return error_message_count;
}

const struct error_message_holder_t *error_message_get_array(void)
{
	return error_messages;
}

int error_message_add_error(uint8_t *data, uint8_t data_size)
{
	if (data_size > ERROR_MESSAGE_MAX_SIZE) {
		return -EINVAL;
	} else if (error_message_count == ERROR_MESSAGE_COUNT) {
		return -E2BIG;
	}

	if (data_size > 0) {
		memcpy(error_messages[error_message_count].data, data, data_size);
	}

	error_messages[error_message_count].data_size = data_size;
	++error_message_count;
	lora_message_added();

	return 0;
}

void error_message_clear(void)
{
	memset(error_messages, 0, sizeof(error_messages));
	error_message_count = 0;
}
```

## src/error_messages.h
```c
/*
 * Copyright (c) 2024, Jamie M.
 *
 * All right reserved. This code is NOT apache or FOSS/copyleft licensed.
 */

#ifndef APP_ERROR_MESSAGES_H
#define APP_ERROR_MESSAGES_H

#include <stdint.h>

#define ERROR_MESSAGE_MAX_SIZE 3
#define ERROR_MESSAGE_COUNT 3

struct error_message_holder_t {
        uint8_t data[ERROR_MESSAGE_MAX_SIZE];
        uint8_t data_size;
	uint8_t frame_port;
};

/* Lock error message system for usage, this must be done prior to use of other functions */
void error_message_lock(void);

/* Unlock error message system, this must be done when finished using system */
void error_message_unlock(void);

/* Get number of pending error messages */
uint8_t error_message_get_count(void);

/* Get the error message array */
const struct error_message_holder_t *error_message_get_array(void);

/* Add an error to the list */
int error_message_add_error(uint8_t *data, uint8_t data_size);

/* Clear all errors in the list */
void error_message_clear(void);

#endif /* APP_ERROR_MESSAGES_H */
```

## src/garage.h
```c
/*
 * Copyright (c) 2024, Jamie M.
 *
 * All right reserved. This code is NOT apache or FOSS/copyleft licensed.
 */

#ifndef APP_GARAGE_H
#define APP_GARAGE_H

#include <zephyr/kernel.h>

/* Initialise garage */
int garage_init(void);

/* Open or close garage door */
void garage_door_open_close(void);

#endif /* APP_GARAGE_H */
```

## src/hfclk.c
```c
/*
 * Copyright (c) 2024, Jamie M.
 *
 * All right reserved. This code is NOT apache or FOSS/copyleft licensed.
 */

#include <zephyr/kernel.h>
#include <zephyr/drivers/clock_control.h>
#include <zephyr/drivers/clock_control/nrf_clock_control.h>
#include <zephyr/logging/log.h>
#include "hfclk.h"

LOG_MODULE_REGISTER(hfclk, CONFIG_APP_HFCLK_LOG_LEVEL);

#define HFCLK_START_TIMEOUT K_MSEC(200)

static K_SEM_DEFINE(hfclk_usage_sem, 1, 1);
static uint8_t hfclk_count = 0;
static const struct device *const clock = DEVICE_DT_GET(DT_NODELABEL(clock));

int hfclk_enable()
{
	int rc = 0;

	k_sem_take(&hfclk_usage_sem, K_FOREVER);

	if (hfclk_count == 0) {
		rc = clock_control_on(clock, CLOCK_CONTROL_NRF_TYPE_HFCLK);

		if (rc < 0) {
			LOG_ERR("HFCLK enable failed: %d", rc);
			goto finish;
		}
	}

	++hfclk_count;

finish:
	k_sem_give(&hfclk_usage_sem);

	return rc;
}

int hfclk_disable()
{
	int rc = 0;

	k_sem_take(&hfclk_usage_sem, K_FOREVER);

	if (hfclk_count == 0) {
		LOG_ERR("Tried to disable HFCLK when HFCLK is not running");
		rc = -EINVAL;
		goto finish;
	} else if (hfclk_count > 1) {
		--hfclk_count;
		goto finish;
	}

	rc = clock_control_off(clock, CLOCK_CONTROL_NRF_TYPE_HFCLK);

	if (rc < 0) {
		LOG_ERR("HFCLK disable failed: %d", rc);
	} else {
		hfclk_count = 0;
	}

finish:
	k_sem_give(&hfclk_usage_sem);

	return rc;
}
```
